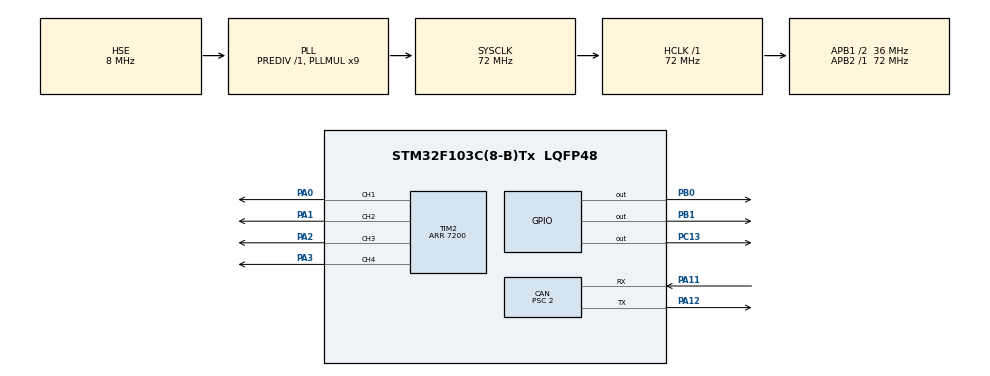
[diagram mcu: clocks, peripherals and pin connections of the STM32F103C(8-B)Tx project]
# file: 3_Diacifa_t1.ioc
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CAN.ABOM=ENABLE
CAN.BS1=CAN_BS1_13TQ
CAN.BS2=CAN_BS2_4TQ
CAN.CalculateBaudRate=1000000
CAN.CalculateTimeBit=1000
CAN.CalculateTimeQuantum=55.55555555555556
CAN.NART=ENABLE
CAN.Prescaler=2
CAN.TXFP=ENABLE
FREERTOS.Queues01=myQueue01,16,uint16_t,0,Dynamic,NULL,NULL
FREERTOS.Tasks01=Heartbeat_Ta,8,64,Start_Heartbeat,Default,NULL,Static,defaultTaskBuffer,defaultTaskControlBlock;CAN_Rx_Ta,25,128,Start_CAN_Rx,Default,NULL,Static,CAN_Rx_TaBuffer,CAN_Rx_TaControlBlock;AirCtrl_Ta,24,128,Start_AirControl,Default,NULL,Static,AirCtrl_TaBuffer,AirCtrl_TaControlBlock
FREERTOS.configCHECK_FOR_STACK_OVERFLOW=2
FREERTOS.configGENERATE_RUN_TIME_STATS=1
FREERTOS.configMAX_TASK_NAME_LEN=24
FREERTOS.configMINIMAL_STACK_SIZE=64
FREERTOS.configUSE_MALLOC_FAILED_HOOK=1
FREERTOS.configUSE_STATS_FORMATTING_FUNCTIONS=1
Mcu.Family=STM32F1
Mcu.Name=STM32F103C(8-B)Tx
Mcu.Package=LQFP48
NVIC.PriorityGroup=NVIC_PRIORITYGROUP_4
NVIC.TIM4_IRQn=true\:15\:0\:false\:false\:true\:false\:false\:true\:true
NVIC.TimeBase=TIM4_IRQn
NVIC.TimeBaseIP=TIM4
NVIC.USB_LP_CAN1_RX0_IRQn=true\:5\:0\:false\:false\:true\:true\:true\:true\:true
PA0-WKUP.Signal=S_TIM2_CH1_ETR
PA1.Signal=S_TIM2_CH2
PA11.Mode=CAN_Activate
PA11.Signal=CAN_RX
PA12.Mode=CAN_Activate
PA12.Signal=CAN_TX
PA13.Mode=Serial_Wire
PA13.Signal=SYS_JTMS-SWDIO
PA14.Mode=Serial_Wire
PA14.Signal=SYS_JTCK-SWCLK
PA2.Signal=S_TIM2_CH3
PA3.Signal=S_TIM2_CH4
PB0.PinState=GPIO_PIN_RESET
PB0.Signal=GPIO_Output
PB1.PinState=GPIO_PIN_RESET
PB1.Signal=GPIO_Output
PC13-TAMPER-RTC.PinState=GPIO_PIN_SET
PC13-TAMPER-RTC.Signal=GPIO_Output
PD0-OSC_IN.Mode=HSE-External-Oscillator
PD0-OSC_IN.Signal=RCC_OSC_IN
PD1-OSC_OUT.Mode=HSE-External-Oscillator
PD1-OSC_OUT.Signal=RCC_OSC_OUT
ProjectManager.HeapSize=0x200
ProjectManager.StackSize=0x800
ProjectManager.TargetToolchain=CMake
RCC.AHBFreq_Value=72000000
RCC.APB1CLKDivider=RCC_HCLK_DIV2
RCC.APB1Freq_Value=36000000
RCC.APB1TimFreq_Value=72000000
RCC.APB2Freq_Value=72000000
RCC.APB2TimFreq_Value=72000000
RCC.EnbaleCSS=true
RCC.HCLKFreq_Value=72000000
RCC.PLLMUL=RCC_PLL_MUL9
RCC.PLLSourceVirtual=RCC_PLLSOURCE_HSE
RCC.SYSCLKFreq_VALUE=72000000
RCC.SYSCLKSource=RCC_SYSCLKSOURCE_PLLCLK
RCC.USBFreq_Value=72000000
SH.S_TIM2_CH1_ETR.0=TIM2_CH1,PWM Generation1 CH1
SH.S_TIM2_CH2.0=TIM2_CH2,PWM Generation2 CH2
SH.S_TIM2_CH3.0=TIM2_CH3,PWM Generation3 CH3
SH.S_TIM2_CH4.0=TIM2_CH4,PWM Generation4 CH4
TIM2.AutoReloadPreload=TIM_AUTORELOAD_PRELOAD_ENABLE
TIM2.Channel-PWM\ Generation1\ CH1=TIM_CHANNEL_1
TIM2.Channel-PWM\ Generation2\ CH2=TIM_CHANNEL_2
TIM2.Channel-PWM\ Generation3\ CH3=TIM_CHANNEL_3
TIM2.Channel-PWM\ Generation4\ CH4=TIM_CHANNEL_4
TIM2.Period=7200
VP_FREERTOS_VS_CMSIS_V2.Mode=CMSIS_V2
VP_SYS_VS_tim4.Mode=TIM4
board=custom

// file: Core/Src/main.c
/* USER CODE BEGIN Header */
/**
  ******************************************************************************
  * @file           : main.c
  * @brief          : Main program body
  ******************************************************************************
  * @attention
  *
  * Copyright (c) 2026 STMicroelectronics.
  * All rights reserved.
  *
  * This software is licensed under terms that can be found in the LICENSE file
  * in the root directory of this software component.
  * If no LICENSE file comes with this software, it is provided AS-IS.
  *
  ******************************************************************************
  */
/* USER CODE END Header */
#include "main.h"
#include "cmsis_os.h"
#include "can.h"
#include "tim.h"
#include "gpio.h"

/* USER CODE BEGIN Includes */

#include "app_includes.h"

/* USER CODE END Includes */

void SystemClock_Config(void);
void MX_FREERTOS_Init(void);

int main(void)
{

  /* MCU Configuration--------------------------------------------------------*/

  /* Reset of all peripherals, Initializes the Flash interface and the Systick. */
  HAL_Init();

  /* Configure the system clock */
  SystemClock_Config();

  /* Initialize all configured peripherals */
  MX_GPIO_Init();
  MX_CAN_Init();
  MX_TIM2_Init();

  /* Init scheduler */
  osKernelInitialize();  /* Call init function for freertos objects (in cmsis_os2.c) */
  MX_FREERTOS_Init();

  /* Start scheduler */
  osKernelStart();

  /* We should never get here as control is now taken by the scheduler */

  /* Infinite loop */
  while (1)
  {

  }
}

void SystemClock_Config(void)
{
  RCC_OscInitTypeDef RCC_OscInitStruct = {0};
  RCC_ClkInitTypeDef RCC_ClkInitStruct = {0};

  /** Initializes the RCC Oscillators according to the specified parameters
  * in the RCC_OscInitTypeDef structure.
  */
  RCC_OscInitStruct.OscillatorType = RCC_OSCILLATORTYPE_HSE;
  RCC_OscInitStruct.HSEState = RCC_HSE_ON;
  RCC_OscInitStruct.HSEPredivValue = RCC_HSE_PREDIV_DIV1;
  RCC_OscInitStruct.HSIState = RCC_HSI_ON;
  RCC_OscInitStruct.PLL.PLLState = RCC_PLL_ON;
  RCC_OscInitStruct.PLL.PLLSource = RCC_PLLSOURCE_HSE;
  RCC_OscInitStruct.PLL.PLLMUL = RCC_PLL_MUL9;
  if (HAL_RCC_OscConfig(&RCC_OscInitStruct) != HAL_OK)
  {
    Error_Handler();
  }

  /** Initializes the CPU, AHB and APB buses clocks
  */
  RCC_ClkInitStruct.ClockType = RCC_CLOCKTYPE_HCLK|RCC_CLOCKTYPE_SYSCLK
                              |RCC_CLOCKTYPE_PCLK1|RCC_CLOCKTYPE_PCLK2;
  RCC_ClkInitStruct.SYSCLKSource = RCC_SYSCLKSOURCE_PLLCLK;
  RCC_ClkInitStruct.AHBCLKDivider = RCC_SYSCLK_DIV1;
  RCC_ClkInitStruct.APB1CLKDivider = RCC_HCLK_DIV2;
  RCC_ClkInitStruct.APB2CLKDivider = RCC_HCLK_DIV1;

  if (HAL_RCC_ClockConfig(&RCC_ClkInitStruct, FLASH_LATENCY_2) != HAL_OK)
  {
    Error_Handler();
  }

  /** Enables the Clock Security System
  */
  HAL_RCC_EnableCSS();
}

void HAL_TIM_PeriodElapsedCallback(TIM_HandleTypeDef *htim)
{
  if (htim->Instance == TIM4)
  {
    HAL_IncTick();
  }
}

void Error_Handler(void)
{
  __disable_irq();
  while (1)
  {
  }
}

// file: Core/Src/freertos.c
/* USER CODE BEGIN Header */
/**
  ******************************************************************************
  * File Name          : freertos.c
  * Description        : Code for freertos applications
  ******************************************************************************
  * @attention
  *
  * Copyright (c) 2026 STMicroelectronics.
  * All rights reserved.
  *
  * This software is licensed under terms that can be found in the LICENSE file
  * in the root directory of this software component.
  * If no LICENSE file comes with this software, it is provided AS-IS.
  *
  ******************************************************************************
  */
/* USER CODE END Header */

#include "FreeRTOS.h"
#include "task.h"
#include "main.h"
#include "cmsis_os.h"

/* USER CODE BEGIN Includes */

#include "app_includes.h"

/* USER CODE END Includes */

typedef StaticTask_t osStaticThreadDef_t;

/* USER CODE BEGIN Variables */

/* CAN 命令队列：中断 → AirCtrl 任务的通信通道 */
osMessageQueueId_t CAN_CmdQueueHandle;
const osMessageQueueAttr_t CAN_CmdQueue_attributes = {
  .name = "CAN_CmdQueue"
};

/* 全局气动系统当前命令状态（AirCtrl_Ta 负责更新，Heartbeat_Ta 读取上报） */
AirCommand_t g_air_cmd = {0};

/* USER CODE END Variables */
/* Definitions for Heartbeat_Ta */
osThreadId_t Heartbeat_TaHandle;
uint32_t defaultTaskBuffer[ 64 ];
osStaticThreadDef_t defaultTaskControlBlock;
const osThreadAttr_t Heartbeat_Ta_attributes = {
  .name = "Heartbeat_Ta",
  .cb_mem = &defaultTaskControlBlock,
  .cb_size = sizeof(defaultTaskControlBlock),
  .stack_mem = &defaultTaskBuffer[0],
  .stack_size = sizeof(defaultTaskBuffer),
  .priority = (osPriority_t) osPriorityLow,
};
/* Definitions for CAN_Rx_Ta */
osThreadId_t CAN_Rx_TaHandle;
uint32_t CAN_Rx_TaBuffer[ 128 ];
osStaticThreadDef_t CAN_Rx_TaControlBlock;
const osThreadAttr_t CAN_Rx_Ta_attributes = {
  .name = "CAN_Rx_Ta",
  .cb_mem = &CAN_Rx_TaControlBlock,
  .cb_size = sizeof(CAN_Rx_TaControlBlock),
  .stack_mem = &CAN_Rx_TaBuffer[0],
  .stack_size = sizeof(CAN_Rx_TaBuffer),
  .priority = (osPriority_t) osPriorityNormal1,
};
/* Definitions for AirCtrl_Ta */
osThreadId_t AirCtrl_TaHandle;
uint32_t AirCtrl_TaBuffer[ 128 ];
osStaticThreadDef_t AirCtrl_TaControlBlock;
const osThreadAttr_t AirCtrl_Ta_attributes = {
  .name = "AirCtrl_Ta",
  .cb_mem = &AirCtrl_TaControlBlock,
  .cb_size = sizeof(AirCtrl_TaControlBlock),
  .stack_mem = &AirCtrl_TaBuffer[0],
  .stack_size = sizeof(AirCtrl_TaBuffer),
  .priority = (osPriority_t) osPriorityNormal,
};
/* Definitions for myQueue01 */
osMessageQueueId_t myQueue01Handle;
const osMessageQueueAttr_t myQueue01_attributes = {
  .name = "myQueue01"
};

void Start_Heartbeat(void *argument);
void Start_CAN_Rx(void *argument);
void Start_AirControl(void *argument);

void MX_FREERTOS_Init(void); /* (MISRA C 2004 rule 8.1) */

/* Hook prototypes */
void configureTimerForRunTimeStats(void);
unsigned long getRunTimeCounterValue(void);
void vApplicationStackOverflowHook(xTaskHandle xTask, signed char *pcTaskName);
void vApplicationMallocFailedHook(void);

/* USER CODE BEGIN 1 */
/* Functions needed when configGENERATE_RUN_TIME_STATS is on */
__weak void configureTimerForRunTimeStats(void)
{

}

__weak unsigned long getRunTimeCounterValue(void)
{
return 0;
}
/* USER CODE END 1 */

/* USER CODE BEGIN 4 */
void vApplicationStackOverflowHook(xTaskHandle xTask, signed char *pcTaskName)
{
   /* Run time stack overflow checking is performed if
   configCHECK_FOR_STACK_OVERFLOW is defined to 1 or 2. This hook function is
   called if a stack overflow is detected. */
}
/* USER CODE END 4 */

/* USER CODE BEGIN 5 */
void vApplicationMallocFailedHook(void)
{
   /* vApplicationMallocFailedHook() will only be called if
   configUSE_MALLOC_FAILED_HOOK is set to 1 in FreeRTOSConfig.h. It is a hook
   function that will get called if a call to pvPortMalloc() fails.
   pvPortMalloc() is called internally by the kernel whenever a task, queue,
   timer or semaphore is created. It is also called by various parts of the
   demo application. If heap_1.c or heap_2.c are used, then the size of the
   heap available to pvPortMalloc() is defined by configTOTAL_HEAP_SIZE in
   FreeRTOSConfig.h, and the xPortGetFreeHeapSize() API function can be used
   to query the size of free heap space that remains (although it does not
   provide information on how the remaining heap might be fragmented). */
}
/* USER CODE END 5 */

void MX_FREERTOS_Init(void) {

  /* Create the queue(s) */
  /* creation of myQueue01 */
  myQueue01Handle = osMessageQueueNew (16, sizeof(uint16_t), &myQueue01_attributes);

  /* USER CODE BEGIN RTOS_QUEUES */
  /* add queues, ... */

  /* 创建 CAN 命令队列（中断 → AirCtrl 任务） */
  CAN_CmdQueueHandle = osMessageQueueNew(CAN_CMD_QUEUE_LENGTH, sizeof(AirCommand_t), &CAN_CmdQueue_attributes);

  /* USER CODE END RTOS_QUEUES */

  /* Create the thread(s) */
  /* creation of Heartbeat_Ta */
  Heartbeat_TaHandle = osThreadNew(Start_Heartbeat, NULL, &Heartbeat_Ta_attributes);

  /* creation of CAN_Rx_Ta */
  CAN_Rx_TaHandle = osThreadNew(Start_CAN_Rx, NULL, &CAN_Rx_Ta_attributes);

  /* creation of AirCtrl_Ta */
  AirCtrl_TaHandle = osThreadNew(Start_AirControl, NULL, &AirCtrl_Ta_attributes);

}

void Start_Heartbeat(void *argument)
{
  /* USER CODE BEGIN Start_Heartbeat */
  uint32_t last_report_tick = 0;

  for(;;)
  {
    /* LED 心跳：200ms 翻转一次 */
    HAL_GPIO_TogglePin(GPIOC, GPIO_PIN_13);

    /* CAN 状态上报：500ms 发送一次 */
    uint32_t now = HAL_GetTick();
    if (now - last_report_tick >= CAN_REPORT_PERIOD_MS) {
        last_report_tick = now;
        CAN_SendStatus(&hcan, &g_air_cmd, 0);
    }

    osDelay(HEARTBEAT_PERIOD_MS);
  }
  /* USER CODE END Start_Heartbeat */
}

void Start_CAN_Rx(void *argument)
{
  /* USER CODE BEGIN Start_CAN_Rx */
  /*
   * 当前设计：
   *   CAN RX 中断回调 → 解析 AirCommand → osMessageQueuePut(CAN_CmdQueue)
   *   AirCtrl_Ta 从 CAN_CmdQueue 读取并执行
   *
   * 本任务保留作为扩展点。启用 ABOM(自动离线恢复)后，
   * CAN 总线故障由硬件自动处理，无需软件干预。
   */
  for(;;)
  {
    osDelay(1000);
  }
  /* USER CODE END Start_CAN_Rx */
}

void Start_AirControl(void *argument)
{
  /* USER CODE BEGIN Start_AirControl */
  AirCommand_t cmd;

  /* 确保 TIM2 4 路 PWM 全部启动（每块 IBT4 并联 2 通道驱动一个泵） */
  HAL_TIM_PWM_Start(&htim2, TIM_CHANNEL_1);
  HAL_TIM_PWM_Start(&htim2, TIM_CHANNEL_2);
  HAL_TIM_PWM_Start(&htim2, TIM_CHANNEL_3);
  HAL_TIM_PWM_Start(&htim2, TIM_CHANNEL_4);

  /* 初始状态：全部关闭 */
  IBT4_Pump_SetSpeed(PUMP1_ID, 0);
  IBT4_Pump_SetSpeed(PUMP2_ID, 0);
  IBT4_Valve_Set(VALVE1_ID, 0);
  IBT4_Valve_Set(VALVE2_ID, 0);
  g_air_cmd.pump1_pwm = 0;
  g_air_cmd.pump2_pwm = 0;
  g_air_cmd.valve1_on = 0;
  g_air_cmd.valve2_on = 0;

  for(;;)
  {
    /* 阻塞等待 CAN 命令
     * 收到一条命令就设一次状态，之后一直保持直到下一条命令覆盖 */
    osMessageQueueGet(CAN_CmdQueueHandle, &cmd, NULL, osWaitForever);

    /* 执行命令 */
    IBT4_Pump_SetSpeed(PUMP1_ID, cmd.pump1_pwm);
    IBT4_Pump_SetSpeed(PUMP2_ID, cmd.pump2_pwm);
    IBT4_Valve_Set(VALVE1_ID, cmd.valve1_on);
    IBT4_Valve_Set(VALVE2_ID, cmd.valve2_on);

    /* 更新全局状态（给 Heartbeat 读去做 CAN 上报） */
    g_air_cmd = cmd;
  }
  /* USER CODE END Start_AirControl */
}
